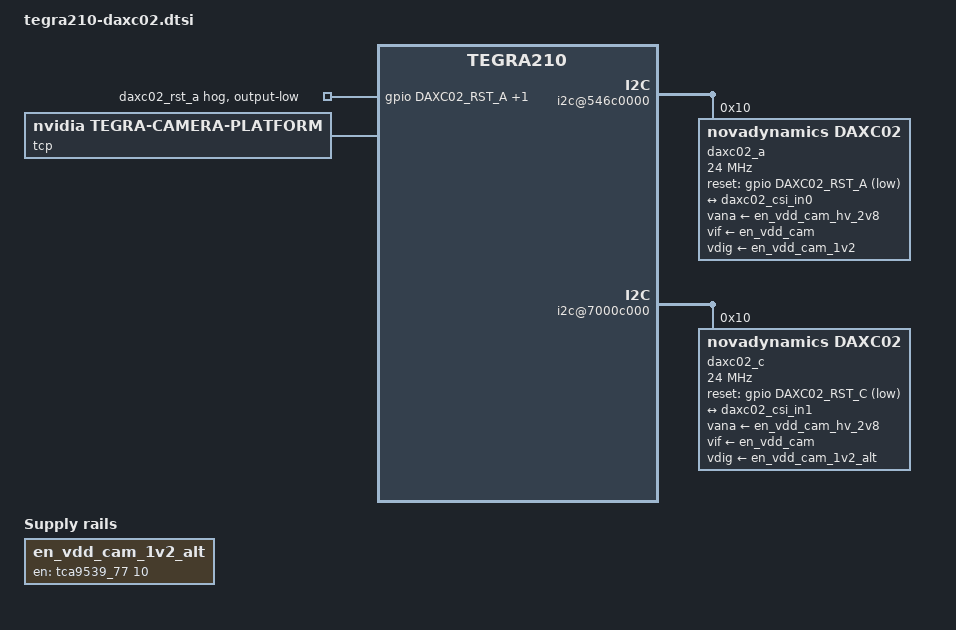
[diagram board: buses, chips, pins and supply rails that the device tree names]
/*
 * This program is free software; you can redistribute it and/or modify
 * it under the terms of the GNU General Public License as published by
 * the Free Software Foundation; either version 2 of the License, or
 * (at your option) any later version.
 *
 * This program is distributed in the hope that it will be useful, but WITHOUT
 * ANY WARRANTY; without even the implied warranty of MERCHANTABILITY or
 * FITNESS FOR A PARTICULAR PURPOSE.  See the GNU General Public License for
 * more details.
 *
 * You should have received a copy of the GNU General Public License
 * along with this program.  If not, see <http://www.gnu.org/licenses/>.
 */

#include <dt-bindings/media/camera.h>
#include <dt-bindings/platform/t210/t210.h>

#define DAXC02_RST_A  TEGRA_GPIO(S, 4)
#define DAXC02_RST_C  TEGRA_GPIO(S, 5)

/*
I2C Busses:

i2c0 = "/i2c@7000c000";
i2c1 = "/i2c@7000c400";
i2c2 = "/i2c@7000c500";
i2c3 = "/i2c@7000c700";
i2c4 = "/i2c@7000d000";
i2c5 = "/i2c@7000d100";
i2c6 = "/host1x/i2c@546c0000";
*/

/ {
    /* set camera gpio direction to output */
    gpio: gpio@6000d000 {
        daxc02_reset {
            gpio-hog;
            output-low;
            gpios = <DAXC02_RST_A 0 DAXC02_RST_C 0>;
            label = "daxc02_rst_a", "daxc02_rst_c";
        };
    };

    regulators {
        /* Required for Jetpack 3.1/3.2:
         * Clear CAM1_RST_L as the regulator@210 gpio.
         */
        en_vdd_vcm_2v8: regulator@210 {
            gpio = <>;
        };
        /* Required for Jetpack 3.1:
         * Add the deleted regulator@211. This is re-added in 3.2.
         */
        en_vdd_cam_1v2_alt: regulator@211 {
            compatible = "regulator-fixed-sync";
            reg = <211>;
            regulator-name = "en-vdd-cam-1v2-alt";
            regulator-min-microvol = <1200000>;
            regulator-max-microvol = <1200000>;
            gpio = <&tca9539_77 10 1>;
            enable-active-high;
        };
    };

    host1x {
        vi_base: vi {
            num-channels = <0x2>;
            ports {
                #address-cells = <0x1>;
                #size-cells = <0x0>;

                vi_port0: port@0 {
                    reg = <0x0>;
                    status = "okay";
                    daxc02_vi_in0: endpoint {
                        status = "okay";
                        csi-port = <0x0>;
                        bus-width = <0x1>;
                        remote-endpoint = <&daxc02_csi_out0>;
                    };
                };
                vi_port1: port@1 {
                    reg = <0x1>;
                    status = "okay";
                    daxc02_vi_in1: endpoint {
                        status = "okay";
                        csi-port = <0x2>;
                        bus-width = <0x1>;
                        remote-endpoint = <&daxc02_csi_out1>;
                    };
                };
            };
        };

        csi_base: nvcsi {
            num-channels = <2>;
            #address-cells = <1>;
            #size-cells = <0>;

            csi_chan0: channel@0 {
                reg = <0>;
                ports {
                    #address-cells = <1>;
                    #size-cells = <0>;
                    port@0 {
                        reg = <0>;
                        daxc02_csi_in0: endpoint@0 {
                            csi-port = <0>;
                            bus-width = <1>;
                            remote-endpoint = <&daxc02_out0>;
                        };
                    };
                    port@1 {
                        reg = <1>;
                        daxc02_csi_out0: endpoint@1 {
                            remote-endpoint = <&daxc02_vi_in0>;
                        };
                    };
                };
            };
            csi_chan1: channel@1 {
                reg = <1>;
                ports {
                    #address-cells = <1>;
                    #size-cells = <0>;
                    port@0 {
                        reg = <0>;
                        daxc02_csi_in1: endpoint@2 {
                            csi-port = <2>;
                            bus-width = <1>;
                            remote-endpoint = <&daxc02_out1>;
                        };
                    };
                    port@1 {
                        reg = <1>;
                        daxc02_csi_out1: endpoint@3 {
                            remote-endpoint = <&daxc02_vi_in1>;
                        };
                    };
                };
            };
        };

        i2c@546c0000 {
            status = "okay";
            #address-cells = <1>;
            #size-cells = <0>;

            daxc02_a@10 {
                compatible = "novadynamics,daxc02";

                /* I2C device address */
                reg = <0x10>;

                /* Device */
                devnode = "video0";

                /* Physical dimensions of sensor */
                physical_w = "4.8";
                physical_h = "3.6";

                /* Sensor Model */
                sensor_model ="mt9m021";

                /* input clock for the device */
                clocks = <&tegra_car TEGRA210_CLK_CLK_OUT_1>;
                clock-names = "cam_mclk1";
                clock-frequency = <24000000>;
                mclk = "cam_mclk1";

                /* Define any required hw resources needed by driver */
                /* ie. clocks, io pins, power sources */
                vana-supply = <&en_vdd_cam_hv_2v8>;     // analog 2.8v
                vif-supply = <&en_vdd_cam>;             // interface 1.8v
                vdig-supply = <&en_vdd_cam_1v2>;        // digital 1.2v
                reset-gpios = <&gpio DAXC02_RST_A GPIO_ACTIVE_LOW>;

                avdd-reg = "vana";
                iovdd-reg = "vif";
                dvdd-reg = "vdig";

                mode0 {
                    /* 1280x720 (720p) */
                    mclk_khz = "24000";
                    num_lanes = "1";
                    tegra_sinterface = "serial_a";
                    discontinuous_clk = "yes";
                    dpcm_enable = "false";
                    cil_settletime = "0";

                    dynamic_pixel_bit_depth = "12";
                    csi_pixel_bit_depth = "12";
                    mode_type = "bayer";
                    pixel_phase = "rggb";

                    active_w = "1280";
                    active_h = "720";
                    readout_orientation = "0";
                    line_length = "1650";
                    inherent_gain = "1";
                    mclk_multiplier = "3.09375";
                    pix_clk_hz = "74250000";

                    min_gain_val = "1";
                    max_gain_val = "224";
                    min_hdr_ratio = "";
                    max_hdr_ratio = "";
                    min_framerate = "1";
                    max_framerate = "49";
                    min_exp_time = "22";
                    max_exp_time = "14934";
                    embedded_metadata_height = "0";
                };
                ports {
                    #address-cells = <0x1>;
                    #size-cells = <0x0>;

                    port@0 {
                        reg = <0x0>;
                        daxc02_out0: endpoint {
                            csi-port = <0x0>;
                            bus-width = <0x1>;
                            remote-endpoint = <&daxc02_csi_in0>;
                        };
                    };
                };
            };
        };
    };

    i2c@7000c000 {
        status = "okay";
        #address-cells = <1>;
        #size-cells = <0>;

        daxc02_c@10 {
            compatible = "novadynamics,daxc02";

            /* I2C device address */
            reg = <0x10>;

            /* Device */
            devnode = "video1";

            /* Physical dimensions of sensor */
            physical_w = "4.8";
            physical_h = "3.6";

            /* Sensor Model */
            sensor_model ="mt9m021";

            /* input clock for the device*/
            clocks = <&tegra_car TEGRA210_CLK_CLK_OUT_3>;
            clock-names = "cam_mclk1";
            clock-frequency = <24000000>;
            mclk = "cam_mclk1";

            /* Define any required hw resources needed by driver */
            /* ie. clocks, io pins, power sources */
            vana-supply = <&en_vdd_cam_hv_2v8>;     // analog 2.8v
            vif-supply = <&en_vdd_cam>;             // interface 1.8v
            vdig-supply = <&en_vdd_cam_1v2_alt>;    // digital 1.2v
            reset-gpios = <&gpio DAXC02_RST_C GPIO_ACTIVE_LOW>;

            avdd-reg = "vana";
            iovdd-reg = "vif";
            dvdd-reg = "vdig";

            mode0 {
                /* 1280x720 (720p) */
                mclk_khz = "24000";
                num_lanes = "1";
                tegra_sinterface = "serial_c";
                discontinuous_clk = "yes";
                dpcm_enable = "false";
                cil_settletime = "0";

                dynamic_pixel_bit_depth = "12";
                csi_pixel_bit_depth = "12";
                mode_type = "bayer";
                pixel_phase = "rggb";

                active_w = "1280";
                active_h = "720";
                readout_orientation = "0";
                line_length = "1650";
                inherent_gain = "1";
                mclk_multiplier = "3.09375";
                pix_clk_hz = "74250000";

                min_gain_val = "1";
                max_gain_val = "224";
                min_hdr_ratio = "";
                max_hdr_ratio = "";
                min_framerate = "1";
                max_framerate = "49";
                min_exp_time = "22";
                max_exp_time = "14934";
                embedded_metadata_height = "0";
            };
            ports {
                #address-cells = <0x1>;
                #size-cells = <0x0>;

                port@0 {
                    reg = <0x0>;
                    daxc02_out1: endpoint {
                        csi-port = <0x2>;
                        bus-width = <0x1>;
                        remote-endpoint = <&daxc02_csi_in1>;
                    };
                };
            };
        };
    };

    tcp: tegra-camera-platform {
        compatible = "nvidia, tegra-camera-platform";

        /**
		* Physical settings to calculate max ISO BW
		*
		* num_csi_lanes = <>;
		* Total number of CSI lanes when all cameras are active
		*
		* max_lane_speed = <>;
		* Max lane speed in Kbit/s
		*
		* min_bits_per_pixel = <>;
		* Min bits per pixel
		*
		* vi_peak_byte_per_pixel = <>;
		* Max byte per pixel for the VI ISO case
		*
		* vi_bw_margin_pct = <>;
		* Vi bandwidth margin in percentage
		*
		* max_pixel_rate = <>;
		* Max pixel rate in Kpixel/s for the ISP ISO case
		*
		* isp_peak_byte_per_pixel = <>;
		* Max byte per pixel for the ISP ISO case
		*
		* isp_bw_margin_pct = <>;
		* Isp bandwidth margin in percentage
		*/
		num_csi_lanes = <2>;
        max_lane_speed = <1500000>;
		min_bits_per_pixel = <12>;
		vi_peak_byte_per_pixel = <2>;
		vi_bw_margin_pct = <25>;

		max_pixel_rate = <408000>;
		isp_peak_byte_per_pixel = <2>;
		isp_bw_margin_pct = <25>;

        modules {
            module0 {
                badge = "daxc02_master_mt9m021";
                position = "front";
                orientation = "1";
                status = "okay";
                drivernode0 {
                    pcl_id = "v4l2_sensor";
                    devname = "daxc02 6-0010";
                    proc-device-tree = "/proc/device-tree/host1x/i2c@546c0000/daxc02_a@10";
                    status = "okay";
                };
            };
            module1 {
                badge = "daxc02_slave_mt9m021";
                position = "rear";
                orientation = "1";
                status = "okay";
                drivernode0 {
                    pcl_id = "v4l2_sensor";
                    devname = "daxc02 0-0010";
                    proc-device-tree = "/proc/device-tree/i2c@7000c000/daxc02_c@10";
                    status = "okay";
                };
            };
        };
    };
};
